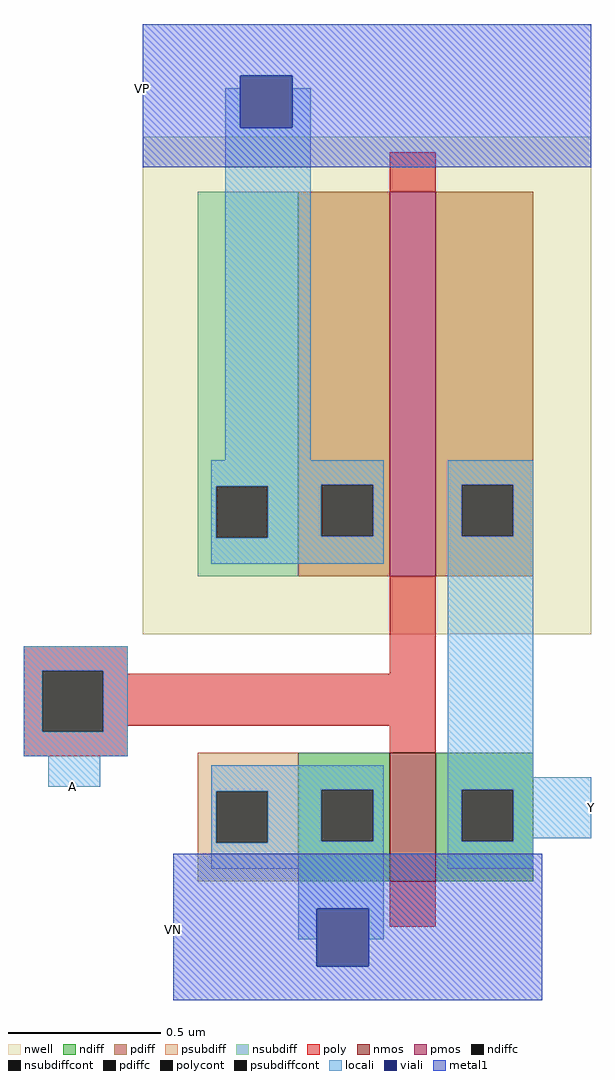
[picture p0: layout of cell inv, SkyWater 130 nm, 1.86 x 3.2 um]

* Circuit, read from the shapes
.subckt inv A Y VP VN
XM1 Y A VN VN sky130_fd_pr__nfet_01v8 w=0.42 l=0.15
XM2 Y A VP VP sky130_fd_pr__pfet_01v8 w=1.26 l=0.15
.ends

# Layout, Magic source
magic
tech sky130A
magscale 1 2
<< nwell >>
rect -196 202 98 528
<< nmos >>
rect -34 40 -4 124
<< pmos >>
rect -34 240 -4 492
<< ndiff >>
rect -94 100 -34 124
rect -94 66 -79 100
rect -45 66 -34 100
rect -94 40 -34 66
rect -4 100 60 124
rect -4 66 13 100
rect 47 66 60 100
rect -4 40 60 66
<< pdiff >>
rect -94 300 -34 492
rect -94 266 -79 300
rect -45 266 -34 300
rect -94 240 -34 266
rect -4 300 60 492
rect -4 266 13 300
rect 47 266 60 300
rect -4 240 60 266
<< ndiffc >>
rect -79 66 -45 100
rect 13 66 47 100
<< pdiffc >>
rect -79 266 -45 300
rect 13 266 47 300
<< psubdiff >>
rect -160 99 -94 124
rect -160 65 -148 99
rect -114 65 -94 99
rect -160 40 -94 65
<< nsubdiff >>
rect -160 299 -94 492
rect -160 265 -148 299
rect -114 265 -94 299
rect -160 240 -94 265
<< psubdiffcont >>
rect -148 65 -114 99
<< nsubdiffcont >>
rect -148 265 -114 299
<< poly >>
rect -34 492 -4 518
rect -274 178 -206 194
rect -274 138 -262 178
rect -222 176 -206 178
rect -34 176 -4 240
rect -222 142 -4 176
rect -222 138 -206 142
rect -274 122 -206 138
rect -34 124 -4 142
rect -34 10 -4 40
<< polycont >>
rect -262 138 -222 178
<< locali >>
rect -142 534 -132 560
rect -98 534 -86 560
rect -142 316 -86 534
rect -151 300 -38 316
rect -151 299 -79 300
rect -151 265 -148 299
rect -114 266 -79 299
rect -45 266 -38 300
rect -114 265 -38 266
rect -151 248 -38 265
rect 4 300 60 316
rect 4 266 13 300
rect 47 266 60 300
rect -274 178 -206 194
rect -274 138 -262 178
rect -222 138 -206 178
rect -274 122 -206 138
rect -258 102 -224 122
rect -151 100 -38 116
rect -151 99 -79 100
rect -151 65 -148 99
rect -114 66 -79 99
rect -45 66 -38 100
rect -114 65 -38 66
rect -151 48 -38 65
rect 4 108 60 266
rect 4 100 98 108
rect 4 66 13 100
rect 47 68 98 100
rect 47 66 60 68
rect 4 48 60 66
rect -94 22 -38 48
rect -94 2 -82 22
rect -48 2 -38 22
<< viali >>
rect -132 534 -98 568
rect -82 -16 -48 22
<< metal1 >>
rect -196 568 98 602
rect -196 534 -132 568
rect -98 534 98 568
rect -196 508 98 534
rect -176 22 66 58
rect -176 -16 -82 22
rect -48 -16 66 22
rect -176 -38 66 -16
<< labels >>
rlabel locali -242 102 -242 102 5 A
port 1 s
rlabel locali 98 88 98 88 3 Y
port 2 e
rlabel metal1 -196 560 -196 560 7 VP
port 3 w
rlabel metal1 -176 8 -176 8 7 VN
port 4 w
<< end >>
